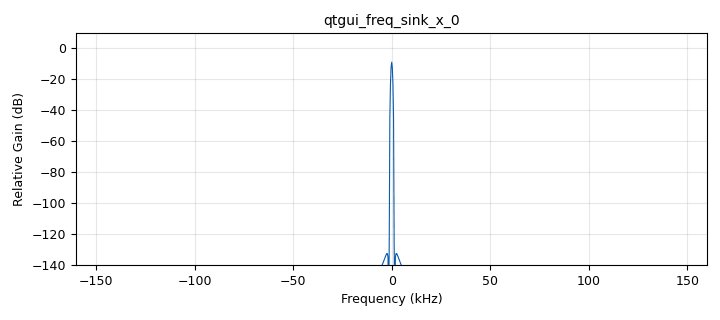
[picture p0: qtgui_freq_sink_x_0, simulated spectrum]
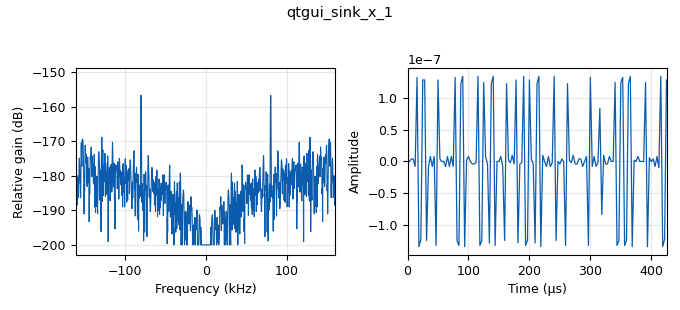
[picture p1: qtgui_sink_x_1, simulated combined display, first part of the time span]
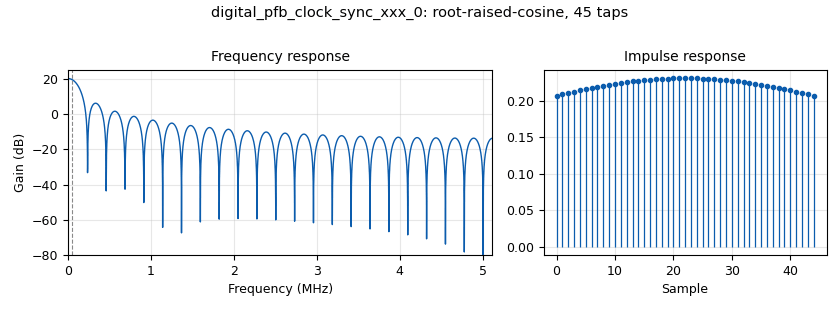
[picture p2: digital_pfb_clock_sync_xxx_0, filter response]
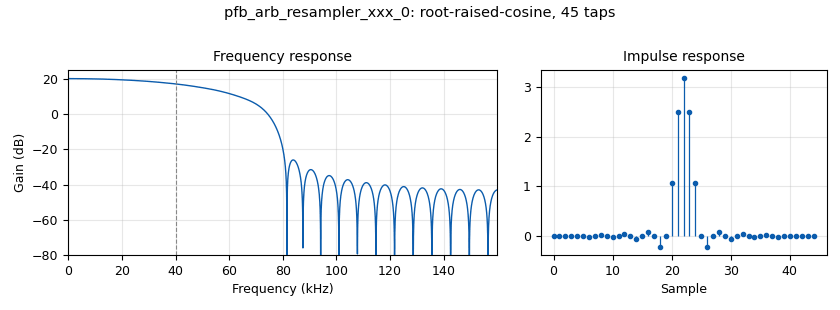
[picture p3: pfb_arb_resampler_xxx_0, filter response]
options:
  parameters:
    author: abhi
    generate_options: qt_gui
    id: Lab10_6
    output_language: python
    title: Not titled yet
  states: {}

blocks:
- name: alpha
  id: variable_qtgui_range
  parameters:
    start: '0.01'
    step: '0.01'
    stop: '1'
    value: '0.99'
  states: {}
- name: const_points
  id: variable
  parameters:
    value: '8'
  states: {}
- name: gain
  id: variable
  parameters:
    value: '10'
  states: {}
- name: nfilts
  id: variable
  parameters:
    value: '32'
  states: {}
- name: ntaps
  id: variable
  parameters:
    value: 11*sps
  states: {}
- name: rx_taps
  id: variable
  parameters:
    value: firdes.root_raised_cosine(gain,nfilts*sps*symb_rate,symb_rate,alpha,ntaps)
  states: {}
- name: samp_rate
  id: variable
  parameters:
    value: symb_rate*sps
  states: {}
- name: sps
  id: variable
  parameters:
    value: '4'
  states: {}
- name: sqrt2
  id: variable
  parameters:
    value: math.sqrt(0.5)
  states: {}
- name: symb_rate
  id: variable
  parameters:
    value: '80000'
  states: {}
- name: tx_taps
  id: variable
  parameters:
    value: firdes.root_raised_cosine(10,sps*symb_rate,symb_rate,alpha,ntaps)
  states: {}
- name: analog_random_source_x_0
  id: analog_random_source_x
  parameters:
    max: const_points
    min: '0'
    num_samps: '1000'
    repeat: 'True'
    type: int
  states: {}
- name: analog_sig_source_x_0
  id: analog_sig_source_x
  parameters:
    amp: '1'
    freq: '10000'
    offset: '0'
    phase: '0'
    samp_rate: samp_rate
    type: complex
    waveform: analog.GR_COS_WAVE
  states: {}
- name: blocks_complex_to_arg_0
  id: blocks_complex_to_arg
  parameters: {}
  states: {}
- name: blocks_complex_to_arg_1
  id: blocks_complex_to_arg
  parameters: {}
  states: {}
- name: blocks_delay_0
  id: blocks_delay
  parameters:
    delay: '1000'
    type: complex
  states: {}
- name: blocks_delay_1
  id: blocks_delay
  parameters:
    delay: '1'
    type: complex
  states: {}
- name: blocks_multiply_conjugate_cc_0
  id: blocks_multiply_conjugate_cc
  parameters: {}
  states: {}
- name: blocks_multiply_const_vxx_0
  id: blocks_multiply_const_vxx
  parameters:
    const: 1/const_points
    type: float
  states: {}
- name: blocks_multiply_xx_0
  id: blocks_multiply_xx
  parameters:
    type: complex
  states: {}
- name: blocks_multiply_xx_1
  id: blocks_multiply_xx
  parameters:
    num_inputs: const_points
    type: complex
  states: {}
- name: blocks_multiply_xx_2
  id: blocks_multiply_xx
  parameters:
    type: complex
  states: {}
- name: blocks_throttle_0
  id: blocks_throttle
  parameters:
    samples_per_second: samp_rate
    type: complex
  states: {}
- name: blocks_vco_c_0
  id: blocks_vco_c
  parameters:
    amplitude: '1'
    samp_rate: samp_rate
    sensitivity: '-samp_rate'
  states: {}
- name: blocks_vco_c_0_0
  id: blocks_vco_c
  parameters:
    amplitude: '1'
    samp_rate: samp_rate
    sensitivity: '-5'
  states: {}
- name: digital_chunks_to_symbols_xx_0
  id: digital_chunks_to_symbols_xx
  parameters:
    dimension: '1'
    in_type: int
    out_type: complex
    symbol_table: ((1), (sqrt2+sqrt2*1j), (1j), (-sqrt2+sqrt2*1j), (-1), (-sqrt2-sqrt2*1j), (-1j), (sqrt2-sqrt2*1j))
  states: {}
- name: digital_pfb_clock_sync_xxx_0
  id: digital_pfb_clock_sync_xxx
  parameters:
    filter_size: nfilts
    init_phase: '16'
    loop_bw: 2*3.1415/100
    max_dev: '1.5'
    osps: '1'
    sps: sps
    taps: rx_taps
    type: ccf
  states: {}
- name: iir_filter_xxx_1
  id: iir_filter_xxx
  parameters:
    fbtaps: '[-1, 1]'
    fftaps: '[1.0001, -1]'
    type: ffd
  states: {}
- name: import_0
  id: import
  parameters:
    imports: import math
  states: {}
- name: network_udp_sink_0
  id: network_udp_sink
  parameters:
    addr: 127.0.0.1
    header: '0'
    payloadsize: '1472'
    port: '12345'
    send_eof: 'False'
    type: complex
  states: {}
- name: network_udp_source_0
  id: network_udp_source
  parameters:
    header: '0'
    ipv6: 'False'
    notify_missed: 'False'
    port: '12345'
    src_zeros: 'False'
    type: complex
  states: {}
- name: pfb_arb_resampler_xxx_0
  id: pfb_arb_resampler_xxx
  parameters:
    atten: '100'
    nfilts: '32'
    rrate: sps
    taps: tx_taps
    type: ccf
  states: {}
- name: qtgui_const_sink_x_0
  id: qtgui_const_sink_x
  parameters:
    size: '1024'
    type: complex
  states: {state: disabled}
- name: qtgui_const_sink_x_1
  id: qtgui_const_sink_x
  parameters:
    size: '1024'
    type: complex
  states: {}
- name: qtgui_freq_sink_x_0
  id: qtgui_freq_sink_x
  parameters:
    bw: samp_rate
    fc: '0'
    fftsize: '1024'
    type: complex
  states: {}
- name: qtgui_sink_x_1
  id: qtgui_sink_x
  parameters:
    bw: samp_rate
    fc: '0'
    fftsize: '1024'
    type: float
  states: {}
- name: virtual_sink_0
  id: virtual_sink
  parameters:
    stream_id: '1'
  states: {}
- name: virtual_source_0
  id: virtual_source
  parameters:
    stream_id: '1'
  states: {}

connections:
- [analog_random_source_x_0, '0', digital_chunks_to_symbols_xx_0, '0']
- [analog_sig_source_x_0, '0', blocks_multiply_xx_0, '1']
- [blocks_complex_to_arg_0, '0', blocks_multiply_const_vxx_0, '0']
- [blocks_complex_to_arg_0, '0', qtgui_sink_x_1, '0']
- [blocks_complex_to_arg_1, '0', iir_filter_xxx_1, '0']
- [blocks_delay_0, '0', blocks_multiply_xx_2, '1']
- [blocks_delay_1, '0', blocks_multiply_conjugate_cc_0, '1']
- [blocks_multiply_conjugate_cc_0, '0', blocks_throttle_0, '0']
- [blocks_multiply_const_vxx_0, '0', blocks_vco_c_0, '0']
- [blocks_multiply_xx_0, '0', digital_pfb_clock_sync_xxx_0, '0']
- [blocks_multiply_xx_1, '0', blocks_delay_1, '0']
- [blocks_multiply_xx_1, '0', blocks_multiply_conjugate_cc_0, '0']
- [blocks_multiply_xx_2, '0', blocks_complex_to_arg_1, '0']
- [blocks_throttle_0, '0', blocks_complex_to_arg_0, '0']
- [blocks_vco_c_0, '0', blocks_multiply_xx_2, '0']
- [blocks_vco_c_0, '0', qtgui_freq_sink_x_0, '0']
- [blocks_vco_c_0_0, '0', qtgui_const_sink_x_1, '0']
- [digital_chunks_to_symbols_xx_0, '0', pfb_arb_resampler_xxx_0, '0']
- [digital_chunks_to_symbols_xx_0, '0', qtgui_const_sink_x_0, '0']
- [digital_pfb_clock_sync_xxx_0, '0', network_udp_sink_0, '0']
- [digital_pfb_clock_sync_xxx_0, '0', virtual_sink_0, '0']
- [iir_filter_xxx_1, '0', blocks_vco_c_0_0, '0']
- [network_udp_source_0, '0', blocks_delay_0, '0']
- [pfb_arb_resampler_xxx_0, '0', blocks_multiply_xx_0, '0']
- [virtual_source_0, '0', blocks_multiply_xx_1, '0']
- [virtual_source_0, '0', blocks_multiply_xx_1, '1']
- [virtual_source_0, '0', blocks_multiply_xx_1, '2']
- [virtual_source_0, '0', blocks_multiply_xx_1, '3']
- [virtual_source_0, '0', blocks_multiply_xx_1, '4']
- [virtual_source_0, '0', blocks_multiply_xx_1, '5']
- [virtual_source_0, '0', blocks_multiply_xx_1, '6']
- [virtual_source_0, '0', blocks_multiply_xx_1, '7']

metadata:
  file_format: 1
  grc_version: 3.9.8.0-rc1
